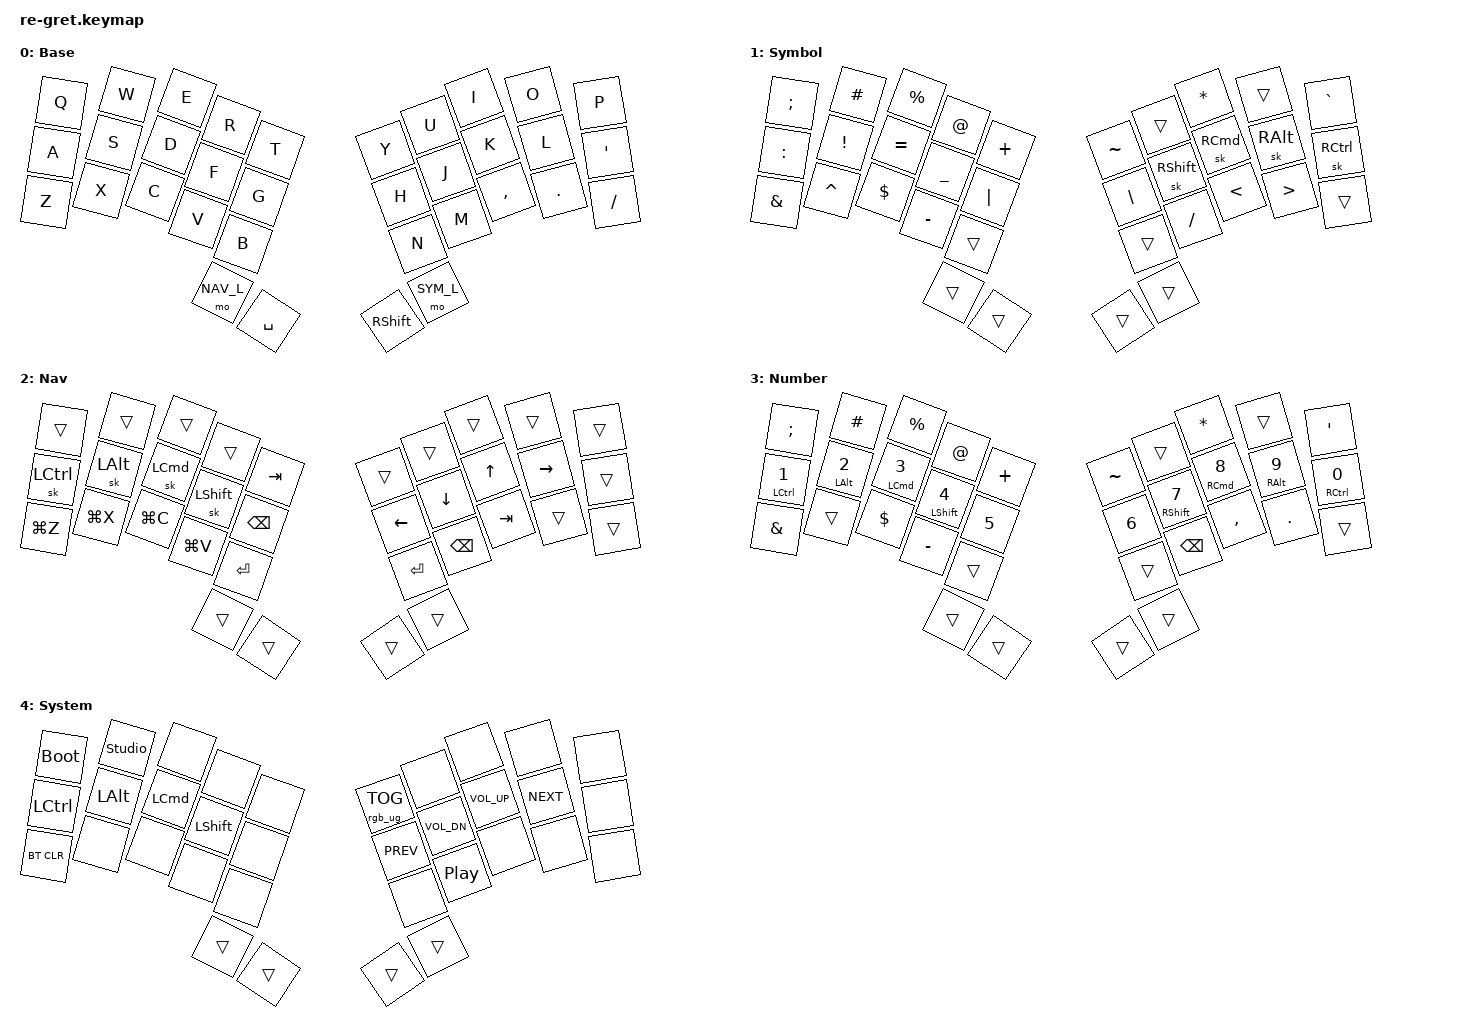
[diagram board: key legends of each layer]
#include <behaviors.dtsi>
#include <dt-bindings/zmk/keys.h>
#include <dt-bindings/zmk/rgb.h>
#include <dt-bindings/zmk/bt.h>

#define SYM_L 1
#define NAV_L 2
#define NUM_L 3
#define SYS_L 4

/ {
    behaviors {
        hm: homerow_mods {
            compatible = "zmk,behavior-hold-tap";
            #binding-cells = <2>;
            tapping-term-ms = <200>;
            flavor = "tap-preferred";
            bindings = <&kp>, <&kp>;
        };
    };

    conditional_layers {
        compatible = "zmk,conditional-layers";
        tri_layer {
            if-layers = <SYM_L NAV_L>;
            then-layer = <NUM_L>;
        };
    };
 
    #define COMBO_IDLE 175
    combos {
        compatible = "zmk,combos";

        // Activate system layer on inner thumbs
        sys_l { key-positions = <31 32>; bindings = <&mo SYS_L>; require-prior-idle-ms = <COMBO_IDLE>; };

        ret  { key-positions = <6 7 8>; bindings = <&kp RET>; };
        esc  { key-positions = <1 2>;   bindings = <&kp ESC>;  require-prior-idle-ms = <COMBO_IDLE>;};
        bsp  { key-positions = <26 27>; bindings = <&kp BSPC>; require-prior-idle-ms = <COMBO_IDLE>;};
        semi { key-positions = <27 28>; bindings = <&kp SEMI>; require-prior-idle-ms = <COMBO_IDLE>;};

        // Brackets and parens
        vlbkt { key-positions = <1 11>; bindings = <&kp LBKT>; require-prior-idle-ms = <COMBO_IDLE>; };
        vlpar { key-positions = <2 12>; bindings = <&kp LPAR>; require-prior-idle-ms = <COMBO_IDLE>; };
        vlbrc { key-positions = <3 13>; bindings = <&kp LBRC>; require-prior-idle-ms = <COMBO_IDLE>; };
        vrbrc { key-positions = <6 16>; bindings = <&kp RBRC>; require-prior-idle-ms = <COMBO_IDLE>; };
        vrpar { key-positions = <7 17>; bindings = <&kp RPAR>; require-prior-idle-ms = <COMBO_IDLE>; };
        vrbkt { key-positions = <8 18>; bindings = <&kp RBKT>; require-prior-idle-ms = <COMBO_IDLE>; };

    };

    keymap {
        compatible = "zmk,keymap";

        default_layer {
            display-name = "Base";
            bindings = <
                &kp Q      &kp W      &kp E       &kp R          &kp T         &kp Y            &kp U          &kp I       &kp O      &kp P
                &kp A      &kp S      &kp D       &kp F          &kp G         &kp H            &kp J          &kp K       &kp L      &kp SQT
                &kp Z      &kp X      &kp C       &kp V          &kp B         &kp N            &kp M          &kp COMMA   &kp DOT    &kp FSLH
                                                  &mo NAV_L      &kp SPACE     &kp RSHIFT       &mo SYM_L
            >;
        };

        sym_layer {
            display-name = "Symbol";
            bindings = <
                &kp SEMI   &kp HASH   &kp PRCNT   &kp AT          &kp PLUS      &kp TILDE       &trans         &kp STAR    &trans     &kp GRAVE
                &kp COLON  &kp EXCL   &kp EQUAL   &kp UNDER       &kp PIPE      &kp BSLH        &sk RSHFT      &sk RCMD    &sk RALT   &sk RCTRL
                &kp AMPS   &kp CARET  &kp DLLR    &kp MINUS       &trans        &trans          &kp FSLH       &kp LT      &kp GT     &trans
                                                  &trans          &trans        &trans          &trans
            >;
        };

        nav_layer {
            display-name = "Nav";
            bindings = <
                &trans      &trans      &trans     &trans         &kp TAB       &trans          &trans         &trans      &trans     &trans
                &sk LCTRL   &sk LALT    &sk LCMD   &sk LSHFT      &kp BSPC      &kp LEFT        &kp DOWN       &kp UP      &kp RIGHT  &trans
                &kp LG(Z)   &kp LG(X)   &kp LG(C)  &kp LG(V)      &kp RET       &kp RET         &kp BSPC       &kp TAB     &trans     &trans
                                                   &trans         &trans        &trans          &trans
            >;
        };

        num_layer {
            display-name = "Number";
            bindings = <
                &kp SEMI      &kp HASH     &kp PRCNT    &kp AT        &kp PLUS      &kp TILDE &trans        &kp STAR     &trans       &kp SQT
                &hm LCTRL N1  &hm LALT N2  &hm LCMD N3  &hm LSHFT N4  &kp N5        &kp N6    &hm RSHFT N7  &hm RCMD N8  &hm RALT N9  &hm RCTRL N0
                &kp AMPS      &trans       &kp DLLR     &kp MINUS     &trans        &trans    &kp BSPC      &kp COMMA    &kp PERIOD   &trans
                                                        &trans        &trans        &trans    &trans
            >;
        };

        system_layer {
            display-name = "System";
            bindings = <
                &bootloader &studio_unlock &none   &none          &none         &rgb_ug RGB_TOG &none          &none        &none      &none
                &kp LCTRL   &kp LALT    &kp LCMD   &kp LSHFT      &none         &kp C_PREV      &kp C_VOL_DN   &kp C_VOL_UP &kp C_NEXT &none
                &bt BT_CLR  &none       &none      &none          &none         &none           &kp C_PP       &none        &none      &none
                                                   &trans         &trans        &trans          &trans
            >;
        };
    };
};
